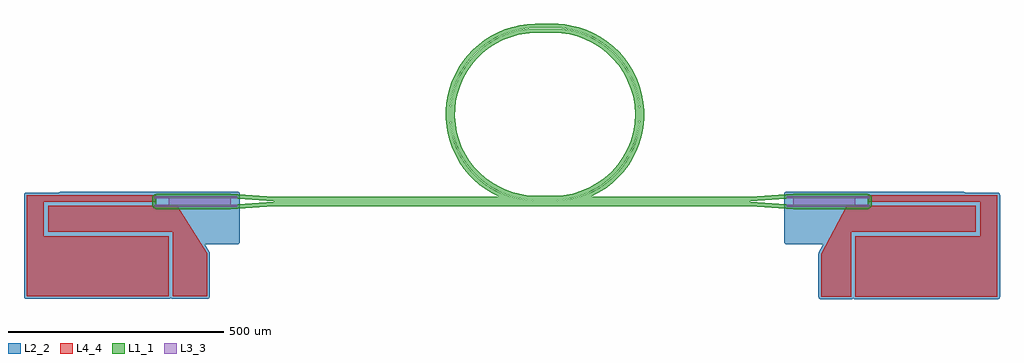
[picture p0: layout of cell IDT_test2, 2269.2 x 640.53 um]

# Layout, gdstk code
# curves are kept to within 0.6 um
import gdstk
lib = gdstk.Library(unit=1e-6, precision=1e-09)
def P(c, l, *ps):  # polygons
    for p in ps: c.add(gdstk.Polygon(p, *l))
L1_1 = (1, 1)
L2_2 = (2, 2)
L3_3 = (3, 3)
L4_4 = (4, 4)

idt_test2 = lib.new_cell('IDT_test2')
P(idt_test2, L1_1, [(-1552.58,-12.702),(-1557.944,-10.48),(-1561.169,-5.653),(-1561.552,13.23),(-1558.671,19.321),(-1555.427,21.489),(-1551.6,22.25),(-1378.8,22.25),(-1278.455,15.35),(-754.709,15.35),(-770.732,23.384),(-786.265,32.922),(-800.915,43.767),(-814.484,55.754),(-825.411,67.094),(-836.96,81.197),(-847.246,96.245),(-856.192,112.127),(-863.731,128.723),(-869.771,145.79),(-874.349,163.434),(-877.062,178.947),(-878.745,197.097),(-878.857,215.201),(-877.399,233.37),(-874.374,251.346),(-869.807,268.992),(-864.645,283.871),(-857.357,300.443),(-848.608,316.434),(-838.509,331.609),(-828.755,343.973),(-816.349,357.328),(-802.834,369.56),(-788.415,380.507),(-773.001,390.237),(-759.049,397.542),(-742.272,404.669),(-725,410.299),(-725,399.898),(-741.137,394.398),(-757.03,387.408),(-770.129,380.342),(-784.698,370.898),(-796.497,361.825),(-809.366,350.17),(-821.179,337.446),(-831.848,323.748),(-841.292,309.179),(-848.358,296.08),(-859.486,268.494),(-864.049,251.742),(-866.795,237.114),(-869,207.45),(-866.795,177.786),(-864.049,163.158),(-859.486,146.406),(-848.358,118.82),(-841.292,105.721),(-831.848,91.152),(-814.563,70.058),(-794.577,51.502),(-778.555,39.801),(-761.454,29.739),(-743.444,21.416),(-725,15.002),(-725,5.35),(-1278.8,5.35),(-1378.8,12.25),(-1551.6,12.25),(-1551.6,-2.75),(-1378.8,-2.75),(-1278.8,4.15),(-725,4.15),(-725,-5.85),(-1278.455,-5.85),(-1378.8,-12.75)],
  [(-707.309,414.424),(-689.266,417.014),(-671.067,418.033),(-618.047,417.795),(-602.48,416.449),(-587.055,413.952),(-569.354,409.603),(-552.095,403.74),(-535.407,396.407),(-519.416,387.658),(-504.241,377.559),(-489.904,366.104),(-474.993,351.736),(-463.091,337.931),(-452.427,323.148),(-443.023,307.389),(-435.076,290.985),(-427.807,271.596),(-422.984,253.89),(-419.738,235.953),(-417.947,215.324),(-418.061,196.973),(-420.106,176.368),(-423.603,158.353),(-429.414,138.479),(-436.124,121.531),(-444.334,105.118),(-453.872,89.585),(-466.29,73.016),(-478.609,59.413),(-491.971,47.015),(-508.385,34.393),(-523.907,24.602),(-542.091,15.35),(-171.545,15.35),(-71.2,22.25),(101.6,22.25),(105.427,21.489),(108.671,19.321),(110.839,16.077),(111.6,12.25),(111.6,-2.75),(110.839,-6.577),(107.156,-11.065),(101.6,-12.75),(-71.2,-12.75),(-171.545,-5.85),(-725,-5.85),(-725,4.15),(-171.2,4.15),(-71.2,-2.75),(101.6,-2.75),(101.6,12.25),(-71.2,12.25),(-171.2,5.35),(-725,5.35),(-725,15.002),(-702.962,9.85),(-678.32,7.095),(-623.438,6.911),(-596.284,9.438),(-576.88,13.579),(-557.981,19.616),(-539.77,27.492),(-520.327,38.451),(-500.303,53.075),(-483.947,68.26),(-467.879,87.145),(-454.263,107.867),(-443.308,130.111),(-435.862,151.151),(-430.8,172.888),(-428.045,197.53),(-428.183,219.848),(-431.242,244.454),(-437.314,268.494),(-446.304,291.602),(-458.077,313.424),(-472.452,333.627),(-489.21,351.903),(-506.118,366.471),(-528.817,381.587),(-551.061,392.542),(-574.487,400.669),(-598.736,405.845),(-623.438,407.989),(-678.32,407.805),(-702.962,405.05),(-725,399.898),(-725,410.299)],
  [(-668.4,8.05),(-688.098,9.025),(-707.603,11.942),(-726.725,16.771),(-747.546,24.43),(-765.239,33.144),(-784.002,44.98),(-799.487,57.195),(-813.689,70.879),(-826.469,85.9),(-837.704,102.11),(-847.282,119.35),(-855.11,137.452),(-861.112,156.239),(-865.608,177.963),(-867.556,197.589),(-867.556,217.311),(-865.608,236.937),(-861.73,256.274),(-855.961,275.134),(-848.358,293.331),(-838.994,310.688),(-827.961,327.036),(-813.689,344.021),(-799.487,357.705),(-784.002,369.92),(-765.239,381.756),(-747.546,390.47),(-729.079,397.393),(-710.018,402.458),(-690.551,405.616),(-673.332,406.789),(-648.419,406.85),(-648.419,396.783),(-675.426,396.719),(-694.089,395.1),(-710.219,392.175),(-728.263,387.141),(-745.721,380.348),(-762.423,371.864),(-778.205,361.772),(-792.913,350.17),(-806.402,337.171),(-818.542,322.904),(-829.213,307.507),(-838.311,291.132),(-845.746,273.938),(-851.447,256.093),(-855.357,237.773),(-857.279,221.493),(-857.742,202.765),(-856.353,184.084),(-853.125,165.631),(-848.091,147.587),(-841.298,130.129),(-832.814,113.427),(-824.068,99.562),(-812.649,84.712),(-799.818,71.063),(-787.532,60.21),(-772.404,49.161),(-756.259,39.661),(-741.421,32.692),(-723.8,26.334),(-707.931,22.222),(-691.766,19.497),(-677.767,18.282),(-648.419,18.159),(-648.419,8.05)],
  [(-648.4,8.05),(-648.419,18.159),(-626.057,18.065),(-605.034,19.497),(-584.299,23.256),(-564.111,29.295),(-544.718,37.539),(-526.361,47.887),(-509.268,60.21),(-493.648,74.355),(-479.697,90.148),(-467.587,107.393),(-457.467,125.876),(-449.464,145.369),(-443.675,165.631),(-440.172,186.41),(-439,207.45),(-440.172,228.49),(-443.675,249.269),(-448.709,267.313),(-456.471,286.904),(-466.362,305.511),(-476.841,321.038),(-490.398,337.171),(-505.662,351.699),(-520.512,363.118),(-538.473,374.139),(-555.379,382.208),(-573,388.566),(-591.163,393.153),(-609.69,395.923),(-648.419,396.783),(-648.419,406.85),(-608.702,405.875),(-589.197,402.958),(-570.075,398.129),(-551.524,391.435),(-533.724,382.94),(-516.852,372.729),(-501.07,360.902),(-486.534,347.572),(-473.385,332.873),(-461.754,316.946),(-451.752,299.948),(-443.479,282.045),(-437.014,263.412),(-432.422,244.232),(-429.975,227.148),(-429,207.45),(-429.975,187.752),(-432.422,170.668),(-437.014,151.488),(-443.479,132.855),(-451.752,114.952),(-461.754,97.954),(-473.385,82.027),(-486.534,67.328),(-501.07,53.998),(-516.852,42.171),(-533.724,31.96),(-551.524,23.465),(-570.075,16.771),(-589.197,11.942),(-606.249,9.284),(-623.468,8.111)])
P(idt_test2, L2_2, [(68.6,-219.815),(66.428,-221.792),(63.6,-222.5),(-6.4,-222.5),(-9.228,-221.792),(-11.389,-219.833),(-12.4,-216.5),(-12.371,-115.906),(-1.329,-94.5),(-86.4,-94.5),(-89.228,-93.792),(-91.389,-91.833),(-92.4,-88.5),(-92.4,21.5),(-91.692,24.328),(-89.733,26.489),(-86.4,27.5),(323.6,27.5),(328.063,25.5),(404.188,25.471),(408.589,22.833),(409.6,19.5),(409.6,-216.5),(408.892,-219.328),(406.933,-221.489),(403.6,-222.5),(73.6,-222.5),(70.772,-221.792)],
  [(-1778.063,25.5),(-1773.6,27.5),(-1361.858,27.242),(-1358.611,24.833),(-1357.6,21.5),(-1357.858,-90.242),(-1359.794,-93.138),(-1363.012,-94.471),(-1439.852,-94.5),(-1427.627,-114.934),(-1427.6,-215.5),(-1428.611,-218.833),(-1431.858,-221.242),(-1513.6,-221.5),(-1516.428,-220.792),(-1518.6,-218.815),(-1520.772,-220.792),(-1523.6,-221.5),(-1855.342,-221.242),(-1858.589,-218.833),(-1859.6,-215.5),(-1859.342,21.242),(-1857.406,24.138),(-1854.188,25.471)])
P(idt_test2, L3_3, [(-1498.6,-3),(-1498.6,11.75),(-1498.155,11.75),(-1498.155,-3),(-1496.8,-3),(-1496.8,11.75),(-1496.355,11.75),(-1496.355,-3),(-1495,-3),(-1495,11.75),(-1494.555,11.75),(-1494.555,-3),(-1493.2,-3),(-1493.2,11.75),(-1492.755,11.75),(-1492.755,-3),(-1491.4,-3),(-1491.4,11.75),(-1490.955,11.75),(-1490.955,-3),(-1489.6,-3),(-1489.6,11.75),(-1489.155,11.75),(-1489.155,-3),(-1487.8,-3),(-1487.8,11.75),(-1487.355,11.75),(-1487.355,-3),(-1486,-3),(-1486,11.75),(-1485.555,11.75),(-1485.555,-3),(-1484.2,-3),(-1484.2,11.75),(-1483.755,11.75),(-1483.755,-3),(-1482.4,-3),(-1482.4,11.75),(-1481.955,11.75),(-1481.955,-3),(-1480.6,-3),(-1480.6,11.75),(-1480.155,11.75),(-1480.155,-3),(-1478.8,-3),(-1478.8,11.75),(-1478.355,11.75),(-1478.355,-3),(-1477,-3),(-1477,11.75),(-1476.555,11.75),(-1476.555,-3),(-1475.2,-3),(-1475.2,11.75),(-1474.755,11.75),(-1474.755,-3),(-1473.4,-3),(-1473.4,11.75),(-1472.955,11.75),(-1472.955,-3),(-1471.6,-3),(-1471.6,11.75),(-1471.155,11.75),(-1471.155,-3),(-1469.8,-3),(-1469.8,11.75),(-1469.355,11.75),(-1469.355,-3),(-1468,-3),(-1468,11.75),(-1467.555,11.75),(-1467.555,-3),(-1466.2,-3),(-1466.2,11.75),(-1465.755,11.75),(-1465.755,-3),(-1464.4,-3),(-1464.4,11.75),(-1463.955,11.75),(-1463.955,-3),(-1462.6,-3),(-1462.6,11.75),(-1462.155,11.75),(-1462.155,-3),(-1460.8,-3),(-1460.8,11.75),(-1460.355,11.75),(-1460.355,-3),(-1459,-3),(-1459,11.75),(-1458.555,11.75),(-1458.555,-3),(-1457.2,-3),(-1457.2,11.75),(-1456.755,11.75),(-1456.755,-3),(-1455.4,-3),(-1455.4,11.75),(-1454.955,11.75),(-1454.955,-3),(-1453.6,-3),(-1453.6,11.75),(-1453.155,11.75),(-1453.155,-3),(-1451.8,-3),(-1451.8,11.75),(-1451.355,11.75),(-1451.355,-3),(-1450,-3),(-1450,11.75),(-1449.555,11.75),(-1449.555,-3),(-1448.2,-3),(-1448.2,11.75),(-1447.755,11.75),(-1447.755,-3),(-1446.4,-3),(-1446.4,11.75),(-1445.955,11.75),(-1445.955,-3),(-1444.6,-3),(-1444.6,11.75),(-1444.155,11.75),(-1444.155,-3),(-1442.8,-3),(-1442.8,11.75),(-1442.355,11.75),(-1442.355,-3),(-1441,-3),(-1441,11.75),(-1440.555,11.75),(-1440.555,-3),(-1439.2,-3),(-1439.2,11.75),(-1438.755,11.75),(-1438.755,-3),(-1437.4,-3),(-1437.4,11.75),(-1436.955,11.75),(-1436.955,-3),(-1435.6,-3),(-1435.6,11.75),(-1435.155,11.75),(-1435.155,-3),(-1433.8,-3),(-1433.8,11.75),(-1433.355,11.75),(-1433.355,-3),(-1432,-3),(-1432,11.75),(-1431.555,11.75),(-1431.555,-3),(-1430.2,-3),(-1430.2,11.75),(-1429.755,11.75),(-1429.755,-3),(-1428.4,-3),(-1428.4,11.75),(-1427.955,11.75),(-1427.955,-3),(-1426.6,-3),(-1426.6,11.75),(-1426.155,11.75),(-1426.155,-3),(-1424.8,-3),(-1424.8,11.75),(-1424.355,11.75),(-1424.355,-3),(-1423,-3),(-1423,11.75),(-1422.555,11.75),(-1422.555,-3),(-1421.2,-3),(-1421.2,11.75),(-1420.755,11.75),(-1420.755,-3),(-1419.4,-3),(-1419.4,11.75),(-1418.955,11.75),(-1418.955,-3),(-1417.6,-3),(-1417.6,11.75),(-1417.155,11.75),(-1417.155,-3),(-1415.8,-3),(-1415.8,11.75),(-1415.355,11.75),(-1415.355,-3),(-1414,-3),(-1414,11.75),(-1413.555,11.75),(-1413.555,-3),(-1412.2,-3),(-1412.2,11.75),(-1411.755,11.75),(-1411.755,-3),(-1410.4,-3),(-1410.4,11.75),(-1409.955,11.75),(-1409.955,-3),(-1408.6,-3),(-1408.6,11.75),(-1408.155,11.75),(-1408.155,-3),(-1406.8,-3),(-1406.8,11.75),(-1406.355,11.75),(-1406.355,-3),(-1405,-3),(-1405,11.75),(-1404.555,11.75),(-1404.555,-3),(-1403.2,-3),(-1403.2,11.75),(-1402.755,11.75),(-1402.755,-3),(-1401.4,-3),(-1401.4,11.75),(-1400.955,11.75),(-1400.955,-3),(-1399.6,-3),(-1399.6,11.75),(-1399.155,11.75),(-1399.155,-3),(-1397.8,-3),(-1397.8,11.75),(-1397.355,11.75),(-1397.355,-3),(-1396,-3),(-1396,11.75),(-1395.555,11.75),(-1395.555,-3),(-1394.2,-3),(-1394.2,11.75),(-1393.755,11.75),(-1393.755,-3),(-1392.4,-3),(-1392.4,11.75),(-1391.955,11.75),(-1391.955,-3),(-1390.6,-3),(-1390.6,11.75),(-1390.155,11.75),(-1390.155,-3),(-1388.8,-3),(-1388.8,11.75),(-1388.355,11.75),(-1388.355,-3),(-1387,-3),(-1387,11.75),(-1386.555,11.75),(-1386.555,-3),(-1385.2,-3),(-1385.2,11.75),(-1384.755,11.75),(-1384.755,-3),(-1383.4,-3),(-1383.4,11.75),(-1382.955,11.75),(-1382.955,-3),(-1381.6,-3),(-1381.6,11.75),(-1381.155,11.75),(-1381.155,-3),(-1379.8,-3),(-1379.8,11.75),(-1379.355,11.75),(-1379.355,-3),(-1363.6,-3),(-1363.6,-8),(-1555.6,-8),(-1555.6,-3),(-1522,-3),(-1522,11.75),(-1521.555,11.75),(-1521.555,-3),(-1520.2,-3),(-1520.2,11.75),(-1519.755,11.75),(-1519.755,-3),(-1518.4,-3),(-1518.4,11.75),(-1517.955,11.75),(-1517.955,-3),(-1516.6,-3),(-1516.6,11.75),(-1516.155,11.75),(-1516.155,-3),(-1514.8,-3),(-1514.8,11.75),(-1514.355,11.75),(-1514.355,-3),(-1513,-3),(-1513,11.75),(-1512.555,11.75),(-1512.555,-3),(-1511.2,-3),(-1511.2,11.75),(-1510.755,11.75),(-1510.755,-3),(-1509.4,-3),(-1509.4,11.75),(-1508.955,11.75),(-1508.955,-3),(-1507.6,-3),(-1507.6,11.75),(-1507.155,11.75),(-1507.155,-3),(-1505.8,-3),(-1505.8,11.75),(-1505.355,11.75),(-1505.355,-3),(-1504,-3),(-1504,11.75),(-1503.555,11.75),(-1503.555,-3),(-1502.2,-3),(-1502.2,11.75),(-1501.755,11.75),(-1501.755,-3),(-1500.4,-3),(-1500.4,11.75),(-1499.955,11.75),(-1499.955,-3),(-1498.6,-3)],
  [(-68.845,11.75),(-68.4,11.75),(-68.4,-3),(-67.045,-3),(-67.045,11.75),(-66.6,11.75),(-66.6,-3),(-65.245,-3),(-65.245,11.75),(-64.8,11.75),(-64.8,-3),(-63.445,-3),(-63.445,11.75),(-63,11.75),(-63,-3),(-61.645,-3),(-61.645,11.75),(-61.2,11.75),(-61.2,-3),(-59.845,-3),(-59.845,11.75),(-59.4,11.75),(-59.4,-3),(-58.045,-3),(-58.045,11.75),(-57.6,11.75),(-57.6,-3),(-56.245,-3),(-56.245,11.75),(-55.8,11.75),(-55.8,-3),(-54.445,-3),(-54.445,11.75),(-54,11.75),(-54,-3),(-52.645,-3),(-52.645,11.75),(-52.2,11.75),(-52.2,-3),(-50.845,-3),(-50.845,11.75),(-50.4,11.75),(-50.4,-3),(-49.045,-3),(-49.045,11.75),(-48.6,11.75),(-48.6,-3),(-47.245,-3),(-47.245,11.75),(-46.8,11.75),(-46.8,-3),(-45.445,-3),(-45.445,11.75),(-45,11.75),(-45,-3),(-43.645,-3),(-43.645,11.75),(-43.2,11.75),(-43.2,-3),(-41.845,-3),(-41.845,11.75),(-41.4,11.75),(-41.4,-3),(-40.045,-3),(-40.045,11.75),(-39.6,11.75),(-39.6,-3),(-38.245,-3),(-38.245,11.75),(-37.8,11.75),(-37.8,-3),(-36.445,-3),(-36.445,11.75),(-36,11.75),(-36,-3),(-34.645,-3),(-34.645,11.75),(-34.2,11.75),(-34.2,-3),(-32.845,-3),(-32.845,11.75),(-32.4,11.75),(-32.4,-3),(-31.045,-3),(-31.045,11.75),(-30.6,11.75),(-30.6,-3),(-29.245,-3),(-29.245,11.75),(-28.8,11.75),(-28.8,-3),(-27.445,-3),(-27.445,11.75),(-27,11.75),(-27,-3),(-25.645,-3),(-25.645,11.75),(-25.2,11.75),(-25.2,-3),(-23.845,-3),(-23.845,11.75),(-23.4,11.75),(-23.4,-3),(-22.045,-3),(-22.045,11.75),(-21.6,11.75),(-21.6,-3),(-20.245,-3),(-20.245,11.75),(-19.8,11.75),(-19.8,-3),(-18.445,-3),(-18.445,11.75),(-18,11.75),(-18,-3),(-16.645,-3),(-16.645,11.75),(-16.2,11.75),(-16.2,-3),(-14.845,-3),(-14.845,11.75),(-14.4,11.75),(-14.4,-3),(-13.045,-3),(-13.045,11.75),(-12.6,11.75),(-12.6,-3),(-11.245,-3),(-11.245,11.75),(-10.8,11.75),(-10.8,-3),(-9.445,-3),(-9.445,11.75),(-9,11.75),(-9,-3),(-7.645,-3),(-7.645,11.75),(-7.2,11.75),(-7.2,-3),(-5.845,-3),(-5.845,11.75),(-5.4,11.75),(-5.4,-3),(-4.045,-3),(-4.045,11.75),(-3.6,11.75),(-3.6,-3),(-2.245,-3),(-2.245,11.75),(-1.8,11.75),(-1.8,-3),(-0.445,-3),(-0.445,11.75),(0,11.75),(0,-3),(1.355,-3),(1.355,11.75),(1.8,11.75),(1.8,-3),(3.155,-3),(3.155,11.75),(3.6,11.75),(3.6,-3),(4.955,-3),(4.955,11.75),(5.4,11.75),(5.4,-3),(6.755,-3),(6.755,11.75),(7.2,11.75),(7.2,-3),(8.555,-3),(8.555,11.75),(9,11.75),(9,-3),(10.355,-3),(10.355,11.75),(10.8,11.75),(10.8,-3),(12.155,-3),(12.155,11.75),(12.6,11.75),(12.6,-3),(13.955,-3),(13.955,11.75),(14.4,11.75),(14.4,-3),(15.755,-3),(15.755,11.75),(16.2,11.75),(16.2,-3),(17.555,-3),(17.555,11.75),(18,11.75),(18,-3),(19.355,-3),(19.355,11.75),(19.8,11.75),(19.8,-3),(21.155,-3),(21.155,11.75),(21.6,11.75),(21.6,-3),(22.955,-3),(22.955,11.75),(23.4,11.75),(23.4,-3),(24.755,-3),(24.755,11.75),(25.2,11.75),(25.2,-3),(26.555,-3),(26.555,11.75),(27,11.75),(27,-3),(28.355,-3),(28.355,11.75),(28.8,11.75),(28.8,-3),(30.155,-3),(30.155,11.75),(30.6,11.75),(30.6,-3),(31.955,-3),(31.955,11.75),(32.4,11.75),(32.4,-3),(33.755,-3),(33.755,11.75),(34.2,11.75),(34.2,-3),(35.555,-3),(35.555,11.75),(36,11.75),(36,-3),(37.355,-3),(37.355,11.75),(37.8,11.75),(37.8,-3),(39.155,-3),(39.155,11.75),(39.6,11.75),(39.6,-3),(40.955,-3),(40.955,11.75),(41.4,11.75),(41.4,-3),(42.755,-3),(42.755,11.75),(43.2,11.75),(43.2,-3),(44.555,-3),(44.555,11.75),(45,11.75),(45,-3),(46.355,-3),(46.355,11.75),(46.8,11.75),(46.8,-3),(48.155,-3),(48.155,11.75),(48.6,11.75),(48.6,-3),(49.955,-3),(49.955,11.75),(50.4,11.75),(50.4,-3),(51.755,-3),(51.755,11.75),(52.2,11.75),(52.2,-3),(53.555,-3),(53.555,11.75),(54,11.75),(54,-3),(55.355,-3),(55.355,11.75),(55.8,11.75),(55.8,-3),(57.155,-3),(57.155,11.75),(57.6,11.75),(57.6,-3),(58.955,-3),(58.955,11.75),(59.4,11.75),(59.4,-3),(60.755,-3),(60.755,11.75),(61.2,11.75),(61.2,-3),(62.555,-3),(62.555,11.75),(63,11.75),(63,-3),(64.355,-3),(64.355,11.75),(64.8,11.75),(64.8,-3),(66.155,-3),(66.155,11.75),(66.6,11.75),(66.6,-3),(67.955,-3),(67.955,11.75),(68.4,11.75),(68.4,-3),(69.755,-3),(69.755,11.75),(70.2,11.75),(70.2,-3),(71.555,-3),(71.555,11.75),(72,11.75),(72,-3),(105.6,-3),(105.6,-8),(-86.4,-8),(-86.4,-3),(-70.645,-3),(-70.645,11.75),(-70.2,11.75),(-70.2,-3),(-68.845,-3),(-68.845,11.75)],
  [(-1495.455,-2.25),(-1495.9,-2.25),(-1495.9,12.5),(-1497.255,12.5),(-1497.255,-2.25),(-1497.7,-2.25),(-1497.7,12.5),(-1499.055,12.5),(-1499.055,-2.25),(-1499.5,-2.25),(-1499.5,12.5),(-1500.855,12.5),(-1500.855,-2.25),(-1501.3,-2.25),(-1501.3,12.5),(-1502.655,12.5),(-1502.655,-2.25),(-1503.1,-2.25),(-1503.1,12.5),(-1504.455,12.5),(-1504.455,-2.25),(-1504.9,-2.25),(-1504.9,12.5),(-1506.255,12.5),(-1506.255,-2.25),(-1506.7,-2.25),(-1506.7,12.5),(-1508.055,12.5),(-1508.055,-2.25),(-1508.5,-2.25),(-1508.5,12.5),(-1509.855,12.5),(-1509.855,-2.25),(-1510.3,-2.25),(-1510.3,12.5),(-1511.655,12.5),(-1511.655,-2.25),(-1512.1,-2.25),(-1512.1,12.5),(-1513.455,12.5),(-1513.455,-2.25),(-1513.9,-2.25),(-1513.9,12.5),(-1515.255,12.5),(-1515.255,-2.25),(-1515.7,-2.25),(-1515.7,12.5),(-1517.055,12.5),(-1517.055,-2.25),(-1517.5,-2.25),(-1517.5,12.5),(-1518.855,12.5),(-1518.855,-2.25),(-1519.3,-2.25),(-1519.3,12.5),(-1520.655,12.5),(-1520.655,-2.25),(-1521.1,-2.25),(-1521.1,12.5),(-1522.455,12.5),(-1522.455,-2.25),(-1522.9,-2.25),(-1522.9,12.5),(-1555.6,12.5),(-1555.6,17.5),(-1363.6,17.5),(-1363.6,12.5),(-1380.255,12.5),(-1380.255,-2.25),(-1380.7,-2.25),(-1380.7,12.5),(-1382.055,12.5),(-1382.055,-2.25),(-1382.5,-2.25),(-1382.5,12.5),(-1383.855,12.5),(-1383.855,-2.25),(-1384.3,-2.25),(-1384.3,12.5),(-1385.655,12.5),(-1385.655,-2.25),(-1386.1,-2.25),(-1386.1,12.5),(-1387.455,12.5),(-1387.455,-2.25),(-1387.9,-2.25),(-1387.9,12.5),(-1389.255,12.5),(-1389.255,-2.25),(-1389.7,-2.25),(-1389.7,12.5),(-1391.055,12.5),(-1391.055,-2.25),(-1391.5,-2.25),(-1391.5,12.5),(-1392.855,12.5),(-1392.855,-2.25),(-1393.3,-2.25),(-1393.3,12.5),(-1394.655,12.5),(-1394.655,-2.25),(-1395.1,-2.25),(-1395.1,12.5),(-1396.455,12.5),(-1396.455,-2.25),(-1396.9,-2.25),(-1396.9,12.5),(-1398.255,12.5),(-1398.255,-2.25),(-1398.7,-2.25),(-1398.7,12.5),(-1400.055,12.5),(-1400.055,-2.25),(-1400.5,-2.25),(-1400.5,12.5),(-1401.855,12.5),(-1401.855,-2.25),(-1402.3,-2.25),(-1402.3,12.5),(-1403.655,12.5),(-1403.655,-2.25),(-1404.1,-2.25),(-1404.1,12.5),(-1405.455,12.5),(-1405.455,-2.25),(-1405.9,-2.25),(-1405.9,12.5),(-1407.255,12.5),(-1407.255,-2.25),(-1407.7,-2.25),(-1407.7,12.5),(-1409.055,12.5),(-1409.055,-2.25),(-1409.5,-2.25),(-1409.5,12.5),(-1410.855,12.5),(-1410.855,-2.25),(-1411.3,-2.25),(-1411.3,12.5),(-1412.655,12.5),(-1412.655,-2.25),(-1413.1,-2.25),(-1413.1,12.5),(-1414.455,12.5),(-1414.455,-2.25),(-1414.9,-2.25),(-1414.9,12.5),(-1416.255,12.5),(-1416.255,-2.25),(-1416.7,-2.25),(-1416.7,12.5),(-1418.055,12.5),(-1418.055,-2.25),(-1418.5,-2.25),(-1418.5,12.5),(-1419.855,12.5),(-1419.855,-2.25),(-1420.3,-2.25),(-1420.3,12.5),(-1421.655,12.5),(-1421.655,-2.25),(-1422.1,-2.25),(-1422.1,12.5),(-1423.455,12.5),(-1423.455,-2.25),(-1423.9,-2.25),(-1423.9,12.5),(-1425.255,12.5),(-1425.255,-2.25),(-1425.7,-2.25),(-1425.7,12.5),(-1427.055,12.5),(-1427.055,-2.25),(-1427.5,-2.25),(-1427.5,12.5),(-1428.855,12.5),(-1428.855,-2.25),(-1429.3,-2.25),(-1429.3,12.5),(-1430.655,12.5),(-1430.655,-2.25),(-1431.1,-2.25),(-1431.1,12.5),(-1432.455,12.5),(-1432.455,-2.25),(-1432.9,-2.25),(-1432.9,12.5),(-1434.255,12.5),(-1434.255,-2.25),(-1434.7,-2.25),(-1434.7,12.5),(-1436.055,12.5),(-1436.055,-2.25),(-1436.5,-2.25),(-1436.5,12.5),(-1437.855,12.5),(-1437.855,-2.25),(-1438.3,-2.25),(-1438.3,12.5),(-1439.655,12.5),(-1439.655,-2.25),(-1440.1,-2.25),(-1440.1,12.5),(-1441.455,12.5),(-1441.455,-2.25),(-1441.9,-2.25),(-1441.9,12.5),(-1443.255,12.5),(-1443.255,-2.25),(-1443.7,-2.25),(-1443.7,12.5),(-1445.055,12.5),(-1445.055,-2.25),(-1445.5,-2.25),(-1445.5,12.5),(-1446.855,12.5),(-1446.855,-2.25),(-1447.3,-2.25),(-1447.3,12.5),(-1448.655,12.5),(-1448.655,-2.25),(-1449.1,-2.25),(-1449.1,12.5),(-1450.455,12.5),(-1450.455,-2.25),(-1450.9,-2.25),(-1450.9,12.5),(-1452.255,12.5),(-1452.255,-2.25),(-1452.7,-2.25),(-1452.7,12.5),(-1454.055,12.5),(-1454.055,-2.25),(-1454.5,-2.25),(-1454.5,12.5),(-1455.855,12.5),(-1455.855,-2.25),(-1456.3,-2.25),(-1456.3,12.5),(-1457.655,12.5),(-1457.655,-2.25),(-1458.1,-2.25),(-1458.1,12.5),(-1459.455,12.5),(-1459.455,-2.25),(-1459.9,-2.25),(-1459.9,12.5),(-1461.255,12.5),(-1461.255,-2.25),(-1461.7,-2.25),(-1461.7,12.5),(-1463.055,12.5),(-1463.055,-2.25),(-1463.5,-2.25),(-1463.5,12.5),(-1464.855,12.5),(-1464.855,-2.25),(-1465.3,-2.25),(-1465.3,12.5),(-1466.655,12.5),(-1466.655,-2.25),(-1467.1,-2.25),(-1467.1,12.5),(-1468.455,12.5),(-1468.455,-2.25),(-1468.9,-2.25),(-1468.9,12.5),(-1470.255,12.5),(-1470.255,-2.25),(-1470.7,-2.25),(-1470.7,12.5),(-1472.055,12.5),(-1472.055,-2.25),(-1472.5,-2.25),(-1472.5,12.5),(-1473.855,12.5),(-1473.855,-2.25),(-1474.3,-2.25),(-1474.3,12.5),(-1475.655,12.5),(-1475.655,-2.25),(-1476.1,-2.25),(-1476.1,12.5),(-1477.455,12.5),(-1477.455,-2.25),(-1477.9,-2.25),(-1477.9,12.5),(-1479.255,12.5),(-1479.255,-2.25),(-1479.7,-2.25),(-1479.7,12.5),(-1481.055,12.5),(-1481.055,-2.25),(-1481.5,-2.25),(-1481.5,12.5),(-1482.855,12.5),(-1482.855,-2.25),(-1483.3,-2.25),(-1483.3,12.5),(-1484.655,12.5),(-1484.655,-2.25),(-1485.1,-2.25),(-1485.1,12.5),(-1486.455,12.5),(-1486.455,-2.25),(-1486.9,-2.25),(-1486.9,12.5),(-1488.255,12.5),(-1488.255,-2.25),(-1488.7,-2.25),(-1488.7,12.5),(-1490.055,12.5),(-1490.055,-2.25),(-1490.5,-2.25),(-1490.5,12.5),(-1491.855,12.5),(-1491.855,-2.25),(-1492.3,-2.25),(-1492.3,12.5),(-1493.655,12.5),(-1493.655,-2.25),(-1494.1,-2.25),(-1494.1,12.5),(-1495.455,12.5),(-1495.455,-2.25)],
  [(-56.7,12.5),(-56.7,-2.25),(-57.145,-2.25),(-57.145,12.5),(-58.5,12.5),(-58.5,-2.25),(-58.945,-2.25),(-58.945,12.5),(-60.3,12.5),(-60.3,-2.25),(-60.745,-2.25),(-60.745,12.5),(-62.1,12.5),(-62.1,-2.25),(-62.545,-2.25),(-62.545,12.5),(-63.9,12.5),(-63.9,-2.25),(-64.345,-2.25),(-64.345,12.5),(-65.7,12.5),(-65.7,-2.25),(-66.145,-2.25),(-66.145,12.5),(-67.5,12.5),(-67.5,-2.25),(-67.945,-2.25),(-67.945,12.5),(-69.3,12.5),(-69.3,-2.25),(-69.745,-2.25),(-69.745,12.5),(-86.4,12.5),(-86.4,17.5),(105.6,17.5),(105.6,12.5),(72.9,12.5),(72.9,-2.25),(72.455,-2.25),(72.455,12.5),(71.1,12.5),(71.1,-2.25),(70.655,-2.25),(70.655,12.5),(69.3,12.5),(69.3,-2.25),(68.855,-2.25),(68.855,12.5),(67.5,12.5),(67.5,-2.25),(67.055,-2.25),(67.055,12.5),(65.7,12.5),(65.7,-2.25),(65.255,-2.25),(65.255,12.5),(63.9,12.5),(63.9,-2.25),(63.455,-2.25),(63.455,12.5),(62.1,12.5),(62.1,-2.25),(61.655,-2.25),(61.655,12.5),(60.3,12.5),(60.3,-2.25),(59.855,-2.25),(59.855,12.5),(58.5,12.5),(58.5,-2.25),(58.055,-2.25),(58.055,12.5),(56.7,12.5),(56.7,-2.25),(56.255,-2.25),(56.255,12.5),(54.9,12.5),(54.9,-2.25),(54.455,-2.25),(54.455,12.5),(53.1,12.5),(53.1,-2.25),(52.655,-2.25),(52.655,12.5),(51.3,12.5),(51.3,-2.25),(50.855,-2.25),(50.855,12.5),(49.5,12.5),(49.5,-2.25),(49.055,-2.25),(49.055,12.5),(47.7,12.5),(47.7,-2.25),(47.255,-2.25),(47.255,12.5),(45.9,12.5),(45.9,-2.25),(45.455,-2.25),(45.455,12.5),(44.1,12.5),(44.1,-2.25),(43.655,-2.25),(43.655,12.5),(42.3,12.5),(42.3,-2.25),(41.855,-2.25),(41.855,12.5),(40.5,12.5),(40.5,-2.25),(40.055,-2.25),(40.055,12.5),(38.7,12.5),(38.7,-2.25),(38.255,-2.25),(38.255,12.5),(36.9,12.5),(36.9,-2.25),(36.455,-2.25),(36.455,12.5),(35.1,12.5),(35.1,-2.25),(34.655,-2.25),(34.655,12.5),(33.3,12.5),(33.3,-2.25),(32.855,-2.25),(32.855,12.5),(31.5,12.5),(31.5,-2.25),(31.055,-2.25),(31.055,12.5),(29.7,12.5),(29.7,-2.25),(29.255,-2.25),(29.255,12.5),(27.9,12.5),(27.9,-2.25),(27.455,-2.25),(27.455,12.5),(26.1,12.5),(26.1,-2.25),(25.655,-2.25),(25.655,12.5),(24.3,12.5),(24.3,-2.25),(23.855,-2.25),(23.855,12.5),(22.5,12.5),(22.5,-2.25),(22.055,-2.25),(22.055,12.5),(20.7,12.5),(20.7,-2.25),(20.255,-2.25),(20.255,12.5),(18.9,12.5),(18.9,-2.25),(18.455,-2.25),(18.455,12.5),(17.1,12.5),(17.1,-2.25),(16.655,-2.25),(16.655,12.5),(15.3,12.5),(15.3,-2.25),(14.855,-2.25),(14.855,12.5),(13.5,12.5),(13.5,-2.25),(13.055,-2.25),(13.055,12.5),(11.7,12.5),(11.7,-2.25),(11.255,-2.25),(11.255,12.5),(9.9,12.5),(9.9,-2.25),(9.455,-2.25),(9.455,12.5),(8.1,12.5),(8.1,-2.25),(7.655,-2.25),(7.655,12.5),(6.3,12.5),(6.3,-2.25),(5.855,-2.25),(5.855,12.5),(4.5,12.5),(4.5,-2.25),(4.055,-2.25),(4.055,12.5),(2.7,12.5),(2.7,-2.25),(2.255,-2.25),(2.255,12.5),(0.9,12.5),(0.9,-2.25),(0.455,-2.25),(0.455,12.5),(-0.9,12.5),(-0.9,-2.25),(-1.345,-2.25),(-1.345,12.5),(-2.7,12.5),(-2.7,-2.25),(-3.145,-2.25),(-3.145,12.5),(-4.5,12.5),(-4.5,-2.25),(-4.945,-2.25),(-4.945,12.5),(-6.3,12.5),(-6.3,-2.25),(-6.745,-2.25),(-6.745,12.5),(-8.1,12.5),(-8.1,-2.25),(-8.545,-2.25),(-8.545,12.5),(-9.9,12.5),(-9.9,-2.25),(-10.345,-2.25),(-10.345,12.5),(-11.7,12.5),(-11.7,-2.25),(-12.145,-2.25),(-12.145,12.5),(-13.5,12.5),(-13.5,-2.25),(-13.945,-2.25),(-13.945,12.5),(-15.3,12.5),(-15.3,-2.25),(-15.745,-2.25),(-15.745,12.5),(-17.1,12.5),(-17.1,-2.25),(-17.545,-2.25),(-17.545,12.5),(-18.9,12.5),(-18.9,-2.25),(-19.345,-2.25),(-19.345,12.5),(-20.7,12.5),(-20.7,-2.25),(-21.145,-2.25),(-21.145,12.5),(-22.5,12.5),(-22.5,-2.25),(-22.945,-2.25),(-22.945,12.5),(-24.3,12.5),(-24.3,-2.25),(-24.745,-2.25),(-24.745,12.5),(-26.1,12.5),(-26.1,-2.25),(-26.545,-2.25),(-26.545,12.5),(-27.9,12.5),(-27.9,-2.25),(-28.345,-2.25),(-28.345,12.5),(-29.7,12.5),(-29.7,-2.25),(-30.145,-2.25),(-30.145,12.5),(-31.5,12.5),(-31.5,-2.25),(-31.945,-2.25),(-31.945,12.5),(-33.3,12.5),(-33.3,-2.25),(-33.745,-2.25),(-33.745,12.5),(-35.1,12.5),(-35.1,-2.25),(-35.545,-2.25),(-35.545,12.5),(-36.9,12.5),(-36.9,-2.25),(-37.345,-2.25),(-37.345,12.5),(-38.7,12.5),(-38.7,-2.25),(-39.145,-2.25),(-39.145,12.5),(-40.5,12.5),(-40.5,-2.25),(-40.945,-2.25),(-40.945,12.5),(-42.3,12.5),(-42.3,-2.25),(-42.745,-2.25),(-42.745,12.5),(-44.1,12.5),(-44.1,-2.25),(-44.545,-2.25),(-44.545,12.5),(-45.9,12.5),(-45.9,-2.25),(-46.345,-2.25),(-46.345,12.5),(-47.7,12.5),(-47.7,-2.25),(-48.145,-2.25),(-48.145,12.5),(-49.5,12.5),(-49.5,-2.25),(-49.945,-2.25),(-49.945,12.5),(-51.3,12.5),(-51.3,-2.25),(-51.745,-2.25),(-51.745,12.5),(-53.1,12.5),(-53.1,-2.25),(-53.545,-2.25),(-53.545,12.5),(-54.9,12.5),(-54.9,-2.25),(-55.345,-2.25),(-55.345,12.5),(-56.7,12.5)])
P(idt_test2, L4_4, [(63.6,-65.5),(63.6,-216.5),(-6.4,-216.5),(-6.4,-116.5),(53.6,-5.5),(353.6,-5.5),(353.6,-65.5),(63.6,-65.5)],
  [(-1513.6,-215.5),(-1513.6,-65.5),(-1803.6,-65.5),(-1803.6,-5.5),(-1503.6,-5.5),(-1433.6,-115.5),(-1433.6,-215.5),(-1513.6,-215.5)],
  [(73.6,-216.5),(73.6,-75.5),(363.6,-75.5),(363.6,4.5),(101.6,4.5),(101.6,19.5),(403.6,19.5),(403.6,-216.5),(73.6,-216.5)],
  [(-1813.6,-75.5),(-1523.6,-75.5),(-1523.6,-215.5),(-1853.6,-215.5),(-1853.6,19.5),(-1551.6,19.5),(-1551.6,4.5),(-1813.6,4.5),(-1813.6,-75.5)])

lib.write_gds('IDT_test2.gds')
